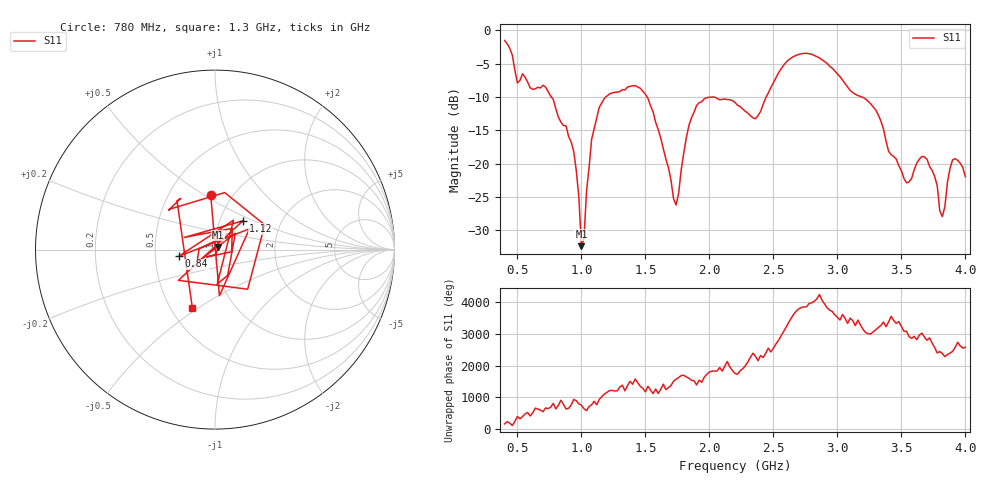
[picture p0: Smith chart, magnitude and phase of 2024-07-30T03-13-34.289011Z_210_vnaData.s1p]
!Created with skrf (http://scikit-rf.org).
# Hz S RI R 50.0
!freq ReS11 ImS11
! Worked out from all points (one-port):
!   181 points, 400 MHz to 4 GHz, reference 50 ohm
!   lowest |S11| = -32.4 dB at 1 GHz (marker M1), VSWR 1.05, Z = 51.9 + j1.57 ohm
!   |S11| at or under -10 dB: 766.1 MHz to 1.191 GHz (424.6 MHz wide, 43.4 % of centre); 1.513 GHz to 2.023 GHz (509.8 MHz wide, 28.8 % of centre); 3.193 GHz to end of sweep (the widest 3 of 4)
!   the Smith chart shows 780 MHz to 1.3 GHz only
!   S11 on the Smith chart (normalised r, x): 780 MHz: 0.80, +0.53; 840 MHz: 0.66, -0.05; 1.12 GHz: 1.28, +0.43; 1.3 GHz: 0.64, -0.47
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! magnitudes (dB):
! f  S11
! 400 MHz  -1.5
! 500 MHz  -7.9
! 780 MHz  -10.4
! 840 MHz  -13.8
! 860 MHz  -14.3
! 940 MHz  -18.1
! 980 MHz  -24.9
! 1 GHz  -32.4
! 1.02 GHz  -31.4
! 1.04 GHz  -24.2
! 1.08 GHz  -16.3
! 1.12 GHz  -13.0
! 1.3 GHz  -9.2
! 1.52 GHz  -10.2
! 1.72 GHz  -25.3
! 1.76 GHz  -24.4
! 1.82 GHz  -16.1
! 1.9 GHz  -11.3
! 2.2 GHz  -10.8
! 2.36 GHz  -13.3
! 2.66 GHz  -3.9
! 3.1 GHz  -9.0
! 3.3 GHz  -11.9
! 3.56 GHz  -22.7
! 3.7 GHz  -19.3
! 3.82 GHz  -28.0
! 3.9 GHz  -19.4
! 4 GHz  -22.0
